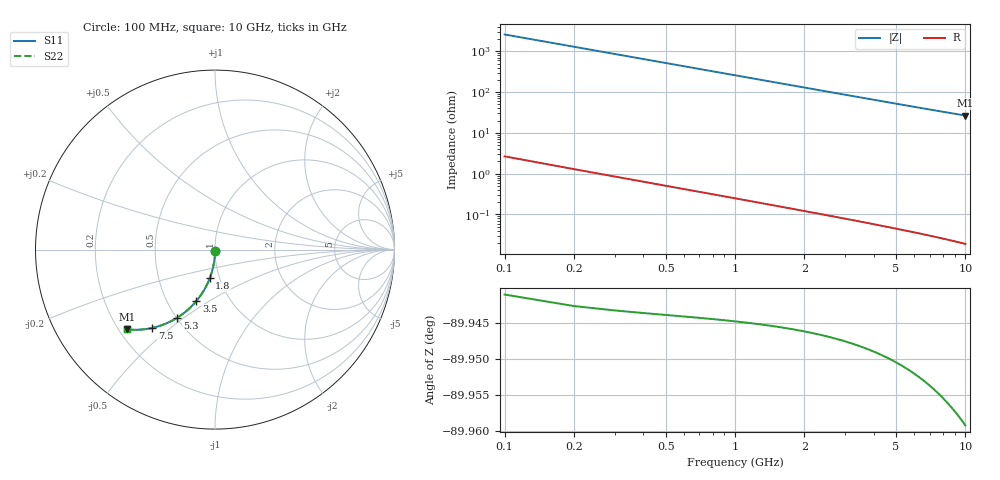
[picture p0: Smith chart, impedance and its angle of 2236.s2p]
# Hz S RI R 50.00
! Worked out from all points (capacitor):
!   100 points, 100 MHz to 10 GHz, reference 50 ohm
!   read as one part in shunt: C = 617 fF near 100 MHz
!   lowest |Z| = 26.6 ohm at 10 GHz (marker M1)
!   S11 on the Smith chart (normalised r, x): 100 MHz: 1.00, -0.02; 1.8 GHz: 0.90, -0.29; 3.5 GHz: 0.70, -0.44; 5.3 GHz: 0.51, -0.47; 7.5 GHz: 0.34, -0.43; 10 GHz: 0.23, -0.37
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1e8  0.000195 -0.00915  0.9996 -0.0102  0.9996 -0.0102  0.000195 -0.00915
2e8  -9.25e-05 -0.0183  0.9993 -0.0204  0.9993 -0.0204  -9.25e-05 -0.0183
3e8  -0.000568 -0.0274  0.9988 -0.0306  0.9988 -0.0306  -0.000568 -0.0274
4e8  -0.00123 -0.0365  0.9982 -0.0408  0.9982 -0.0408  -0.00123 -0.0365
5e8  -0.00208 -0.0456  0.9973 -0.051  0.9973 -0.051  -0.00208 -0.0456
6e8  -0.00311 -0.0547  0.9963 -0.0611  0.9963 -0.0611  -0.00311 -0.0547
8e8  -0.00572 -0.0727  0.9936 -0.0813  0.9936 -0.0813  -0.00572 -0.0727
1.1e9  -0.011 -0.0995  0.9883 -0.1113  0.9883 -0.1113  -0.011 -0.0995
1.4e9  -0.0178 -0.1257  0.9814 -0.1407  0.9814 -0.1407  -0.0178 -0.1257
1.8e9  -0.0293 -0.1596  0.9699 -0.179  0.9699 -0.179  -0.0293 -0.1596
2.1e9  -0.0396 -0.1842  0.9595 -0.2068  0.9595 -0.2068  -0.0396 -0.1842
2.5e9  -0.0553 -0.2156  0.9437 -0.2424  0.9437 -0.2424  -0.0553 -0.2156
2.9e9  -0.0731 -0.2452  0.9258 -0.2763  0.9258 -0.2763  -0.0731 -0.2452
3.4e9  -0.098 -0.2794  0.9007 -0.316  0.9007 -0.316  -0.098 -0.2794
3.5e9  -0.1033 -0.2858  0.8954 -0.3235  0.8954 -0.3235  -0.1033 -0.2858
4.3e9  -0.1484 -0.3327  0.8498 -0.379  0.8498 -0.379  -0.1484 -0.3327
5.1e9  -0.1974 -0.3708  0.8004 -0.4259  0.8004 -0.4259  -0.1974 -0.3708
5.3e9  -0.21 -0.379  0.7877 -0.4362  0.7877 -0.4362  -0.21 -0.379
6.7e9  -0.2994 -0.4219  0.6972 -0.4945  0.6972 -0.4945  -0.2994 -0.4219
7.5e9  -0.3496 -0.4362  0.6463 -0.5177  0.6463 -0.5177  -0.3496 -0.4362
8.4e9  -0.4039 -0.4449  0.5912 -0.5363  0.5912 -0.5363  -0.4039 -0.4449
1e10  -0.4921 -0.4446  0.5012 -0.5542  0.5012 -0.5542  -0.4921 -0.4446
